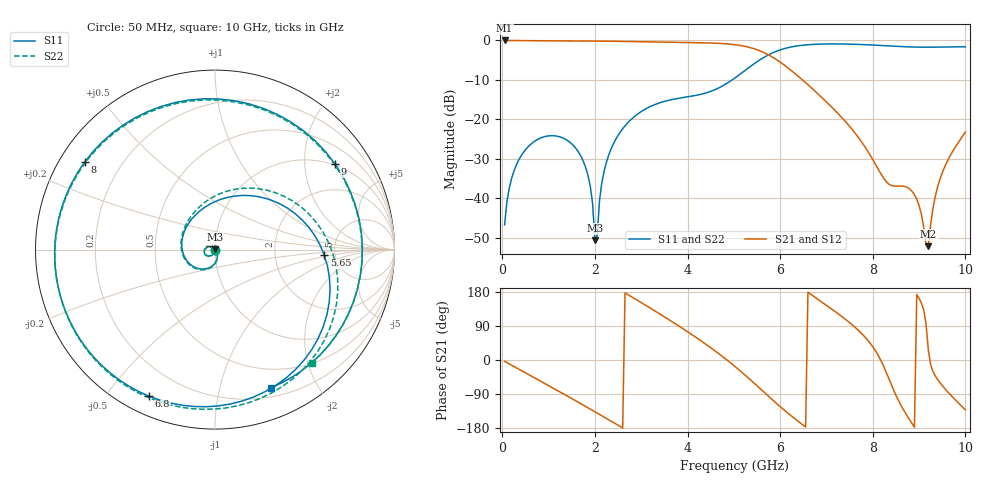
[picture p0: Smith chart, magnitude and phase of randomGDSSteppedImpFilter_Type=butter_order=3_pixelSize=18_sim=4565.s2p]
! freq	dB(S11)	phase(S11)	dB(S12)	phase(S12)
!  dB(S21)	phase(S21)	dB(S22)	phase(S22)
!S-par simulation data
#  GHz  S  DB  R 50
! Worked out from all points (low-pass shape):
!   200 points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, 50 MHz to 10 GHz, reference 50 ohm
!   highest |S21| = -0.01 dB at 50 MHz (marker M1); lowest = -52.1 dB at 9.2 GHz (marker M2)
!   |S21| within 3 dB of the highest: start of sweep to 5.637 GHz
!   lowest |S11| = -50.7 dB at 2 GHz (marker M3), VSWR 1.01, Z = 49.9 + j0.272 ohm
!   |S11| at or under -10 dB: start of sweep to 4.964 GHz
!   |S22| runs from -51.7 to -0.8 dB; largest |S21 - S12| = 0
!   S11 on the Smith chart (normalised r, x): 50 MHz: 1.00, -0.01; 5.65 GHz: 4.08, -0.42; 6.8 GHz: 0.08, -0.64; 8 GHz: 0.07, +0.30; 9 GHz: 0.96, +2.82; 10 GHz: 0.29, -1.45
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0.05  -46.74 -85.3  -0.01 -3.5  -0.01 -3.5  -46.73 -85.3
0.25  -33.15 -105.7  -0.03 -17.0  -0.03 -17.0  -33.15 -105.4
0.65  -25.97 -134.5  -0.07 -44.0  -0.07 -44.0  -25.98 -133.8
1.75  -30.63 148.0  -0.15 -119.0  -0.15 -119.0  -30.68 151.5
1.9  -36.97 135.4  -0.16 -129.5  -0.16 -129.5  -37.09 141.8
2  -50.67 111.3  -0.17 -136.5  -0.17 -136.5  -51.69 141.6
2.15  -36.03 -55.2  -0.18 -147.1  -0.18 -147.1  -35.94 -58.1
2.4  -26.19 -75.5  -0.21 -164.9  -0.21 -164.9  -26.15 -74.8
3.4  -15.80 -151.0  -0.42 121.6  -0.42 121.6  -15.79 -146.3
4.15  -14.00 147.2  -0.56 62.4  -0.56 62.4  -13.98 156.7
5.05  -9.29 61.6  -1.12 -19.7  -1.12 -19.7  -9.30 75.1
5.65  -4.29 -3.0  -3.08 -84.7  -3.08 -84.7  -4.29 9.1
6.1  -2.04 -51.0  -6.34 -133.4  -6.34 -133.4  -2.03 -39.7
6.7  -1.01 -105.9  -12.29 170.1  -12.29 170.1  -0.99 -94.5
6.8  -0.96 -114.2  -13.37 161.4  -13.37 161.4  -0.93 -102.6
7.45  -0.93 -166.2  -21.09 103.6  -21.09 103.6  -0.88 -152.5
8  -1.16 146.0  -30.19 34.8  -30.19 34.8  -1.09 163.1
8.35  -1.39 110.7  -36.43 -49.9  -36.43 -49.9  -1.32 130.6
9  -1.71 35.6  -41.83 162.4  -41.83 162.4  -1.71 58.5
9.2  -1.72 12.2  -52.14 26.2  -52.14 26.2  -1.75 34.7
9.45  -1.69 -15.5  -35.21 -59.8  -35.21 -59.8  -1.73 5.9
10  -1.62 -67.9  -23.23 -131.6  -23.23 -131.6  -1.63 -49.4
